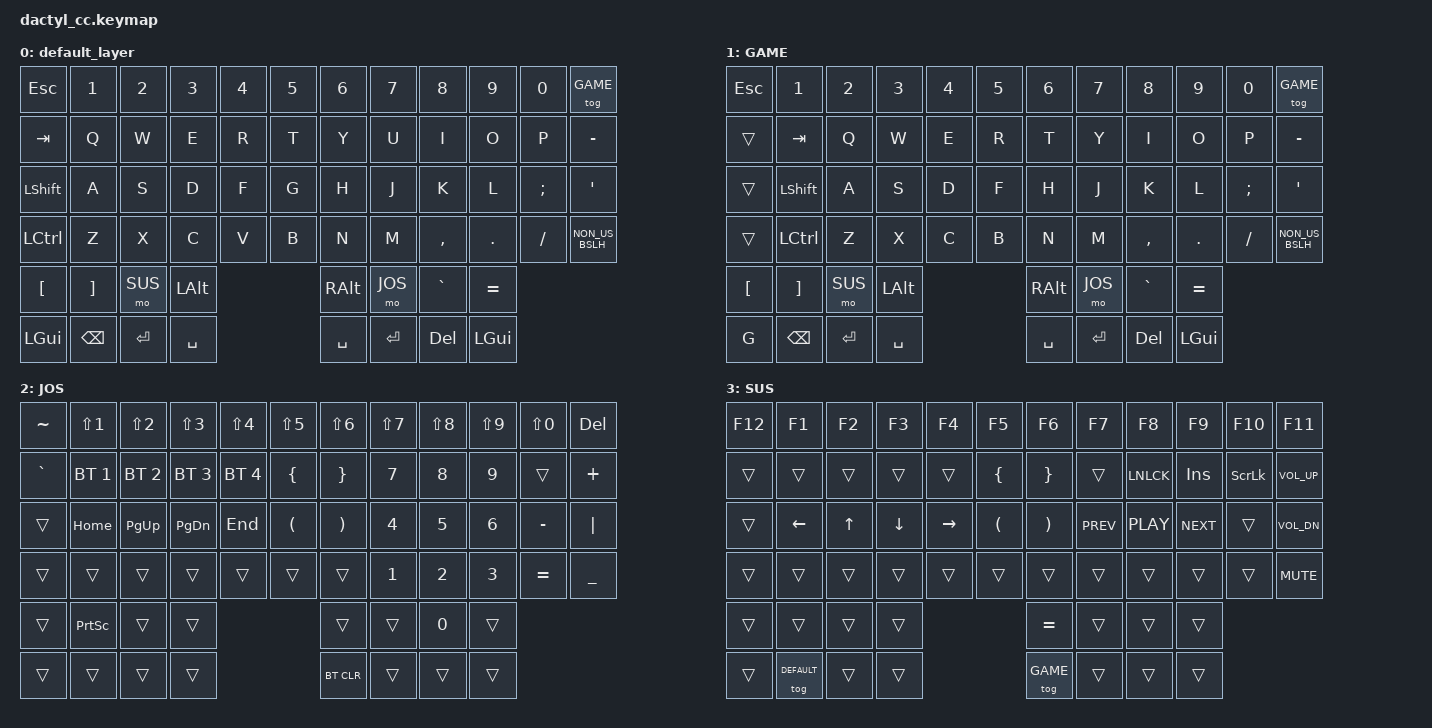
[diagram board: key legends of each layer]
#include <behaviors.dtsi>
#include <dt-bindings/zmk/bt.h>
#include <dt-bindings/zmk/keys.h>

// ###########################################################
// ########### WORKING 2024/03/23 ###############
// ###########################################################

// ############# LAYERS #################
#define DEFAULT 0
#define GAME    1
#define JOS     2
#define SUS     3

// Desktop and tab navigation shortcuts
#define DESKTOP_LT LC(LG(LEFT))
#define DESKTOP_RT LC(LG(RIGHT))
#define WINDOW_LT  LA(LS(TAB))
#define WINDOW_RT  LA(TAB)
#define TAB_LT     LC(LS(TAB))
#define TAB_RT     LC(TAB)
// NOT USED &kp LG(LC(LEFT)) &kp LG(LC(RIGHT))

// Generic bindings
#define KILL_WINDOW LA(F4)
#define MAXIMIZE    LG(UP)
#define MINIMIZE    LG(DOWN)
#define UN_MINIMIZE LG(LC(N))

&mt {
    flavor = "hold-preferred";
    tapping-term-ms = <500>;
};

&lt {
    flavor = "balanced";
    tapping-term-ms = <150>;
};

&sl {
    release-after-ms = <2000>;
};

/ {
    conditional_layers {
        compatible = "zmk,conditional-layers";
        tri_layer {
            if-layers = <1 2>;
            then-layer = <4>;
        };
    };

    macros {
        ZMK_MACRO(inv_qm,
            wait-ms = <10>;
            tap-ms = <10>;
            bindings = <&macro_press &kp LALT>,
                       <&macro_tap &kp KP_N1 &kp KP_N6 &kp KP_N8>,
                       <&macro_release &kp LALT>;
        )
    };

    behaviors {
        // td_mt_ls: tap_dance_mod_tap {
        //     compatible = "zmk,behavior-tap-dance";
        //     label = "TAP_DANCE_LSHIFT";
        //     #binding-cells = <0>;
        //     tapping-term-ms = <200>;
        //     bindings = <&mt LSHIFT CAPSLOCK>, <&kp LCTRL>;
        // };
        // td_mt_rs: tap_dance_mod_tap {
        //     compatible = "zmk,behavior-tap-dance";
        //     label = "TAP_DANCE_RSHIFT";
        //     #binding-cells = <0>;
        //     tapping-term-ms = <200>;
        //     bindings = <&mt RSHIFT CAPSLOCK>, <&kp RCTRL>;
        // };
    };

    keymap {
        compatible = "zmk,keymap";

        default_layer {
            // Row 0 (12): ESC  1    2    3    4    5    |  6    7    8    9    0    GAME
            // Row 1 (12): TAB  Q    W    E    R    T    |  Y    U    I    O    P    -
            // Row 2 (12): LSH  A    S    D    F    G    |  H    J    K    L    ;    '
            // Row 3 (12): CTL  Z    X    C    V    B    |  N    M    ,    .    /    BSLH
            // Row 4  (8): [    ]    SUS  LALT          |  RALT JOS  `    =
            // Row 5  (8): GUI  BSPC RET  SPC           |  SPC  RET  DEL  GUI
            bindings = <
                &kp ESC    &kp N1   &kp N2  &kp N3  &kp N4  &kp N5    &kp N6     &kp N7   &kp N8     &kp N9   &kp N0    &tog GAME
                &kp TAB    &kp Q    &kp W   &kp E   &kp R   &kp T     &kp Y      &kp U    &kp I      &kp O    &kp P     &kp MINUS
                &kp LSHIFT &kp A    &kp S   &kp D   &kp F   &kp G     &kp H      &kp J    &kp K      &kp L    &kp SEMI  &kp SINGLE_QUOTE
                &kp LCTRL  &kp Z    &kp X   &kp C   &kp V   &kp B     &kp N      &kp M    &kp COMMA  &kp DOT  &kp FSLH  &kp NON_US_BSLH
                &kp LBKT   &kp RBKT &mo SUS &kp LALT                  &kp RALT   &mo JOS  &kp GRAVE  &kp EQUAL
                &kp LGUI   &kp BSPC &kp RET &kp SPACE                 &kp SPACE  &kp RET  &kp DEL    &kp LGUI
            >;
        };

        GAME {
            bindings = <
                &kp ESC    &kp N1     &kp N2  &kp N3  &kp N4  &kp N5    &kp N6     &kp N7   &kp N8     &kp N9   &kp N0    &tog GAME
                &trans     &kp TAB    &kp Q   &kp W   &kp E   &kp R     &kp T      &kp Y    &kp I      &kp O    &kp P     &kp MINUS
                &trans     &kp LSHIFT &kp A   &kp S   &kp D   &kp F     &kp H      &kp J    &kp K      &kp L    &kp SEMI  &kp SINGLE_QUOTE
                &trans     &kp LCTRL  &kp Z   &kp X   &kp C   &kp B     &kp N      &kp M    &kp COMMA  &kp DOT  &kp FSLH  &kp NON_US_BSLH
                &kp LBKT   &kp RBKT   &mo SUS &kp LALT                  &kp RALT   &mo JOS  &kp GRAVE  &kp EQUAL
                &kp G      &kp BSPC   &kp RET &kp SPACE                 &kp SPACE  &kp RET  &kp DEL    &kp LGUI
            >;
        };

        JOS {
            bindings = <
                &kp TILDE  &kp LS(N1)   &kp LS(N2)   &kp LS(N3)   &kp LS(N4)   &kp LS(N5)    &kp LS(N6)  &kp LS(N7)  &kp LS(N8)  &kp LS(N9)  &kp LS(N0)  &kp DEL
                &kp GRAVE  &bt BT_SEL 1 &bt BT_SEL 2 &bt BT_SEL 3 &bt BT_SEL 4 &kp LBRC      &kp RBRC    &kp N7      &kp N8      &kp N9      &trans      &kp PLUS
                &trans     &kp HOME     &kp PG_UP    &kp PG_DN    &kp END      &kp LPAR      &kp RPAR    &kp N4      &kp N5      &kp N6      &kp MINUS   &kp PIPE
                &trans     &trans       &trans       &trans       &trans       &trans        &trans      &kp N1      &kp N2      &kp N3      &kp EQUAL   &kp UNDER
                &trans     &kp PSCRN    &trans       &trans                                  &trans      &trans      &kp N0      &trans
                &trans     &trans       &trans       &trans                                  &bt BT_CLR  &trans      &trans      &trans
            >;
        };

        SUS {
            bindings = <
                &kp F12    &kp F1   &kp F2   &kp F3   &kp F4   &kp F5      &kp F6      &kp F7      &kp F8      &kp F9      &kp F10   &kp F11
                &trans     &trans   &trans   &trans   &trans   &kp LBRC    &kp RBRC    &trans      &kp LNLCK   &kp INS     &kp SLCK  &kp C_VOL_UP
                &trans     &kp LEFT &kp UP   &kp DOWN &kp RIGHT &kp LPAR   &kp RPAR    &kp C_PREV  &kp C_PLAY  &kp C_NEXT  &trans    &kp C_VOL_DN
                &trans     &trans   &trans   &trans   &trans   &trans      &trans      &trans      &trans      &trans      &trans    &kp C_MUTE
                &trans     &trans   &trans   &trans                         &kp EQUAL   &trans      &trans      &trans
                &trans     &tog DEFAULT &trans &trans                       &tog GAME   &trans      &trans      &trans
            >;
        };
    };
};
